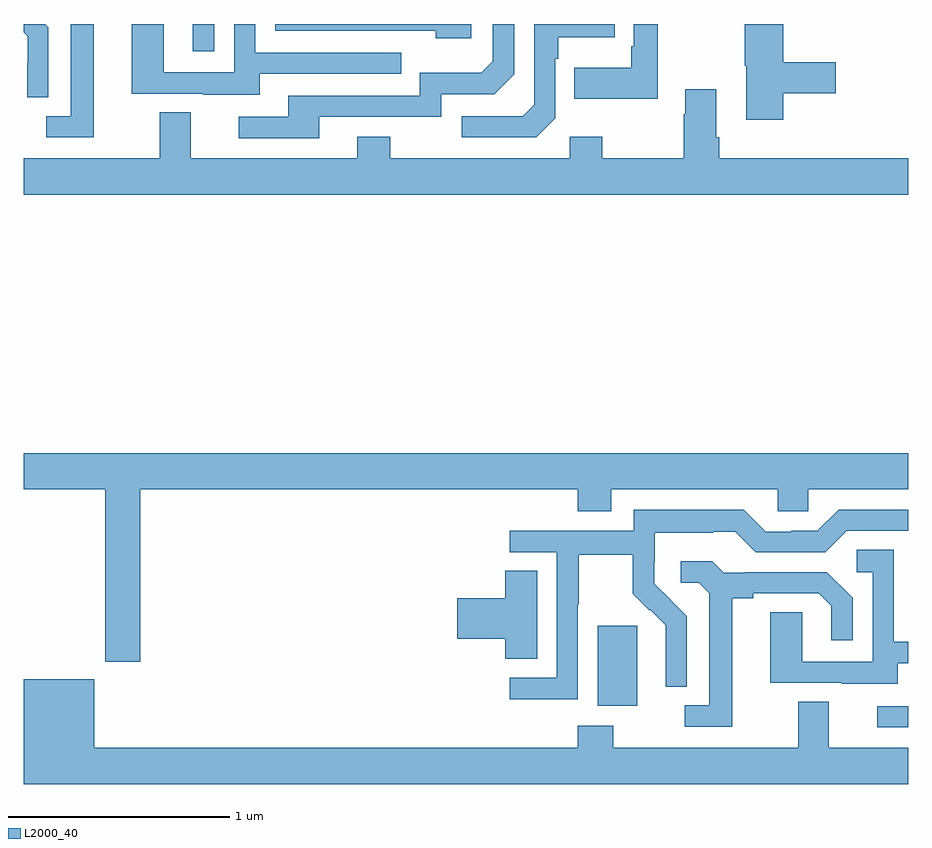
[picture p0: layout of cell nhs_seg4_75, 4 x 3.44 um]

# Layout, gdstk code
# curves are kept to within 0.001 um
import gdstk
lib = gdstk.Library(unit=1e-6, precision=1e-09)
def R(c, l, rs):  # rectangles x0, y0, x1, y1
    for r in rs: c.add(gdstk.rectangle(r[:2], r[2:], *l))
def P(c, l, *ps):  # polygons
    for p in ps: c.add(gdstk.Polygon(p, *l))
L2000_40 = (2000, 40)

nhs_seg4_75 = lib.new_cell('nhs_seg4_75')
R(nhs_seg4_75, L2000_40, [(116.859,819.72,117,819.816), (115.595,819.818,115.774,820.179), (113.765,822.777,113.862,822.9)])
P(nhs_seg4_75, L2000_40, [(114.337,822.48),(114.888,822.48),(114.888,822.582),(115.128,822.582),(115.218,822.672),(115.218,822.9),(115.122,822.9),(115.122,822.732),(115.069,822.679),(114.792,822.679),(114.792,822.576),(114.197,822.576),(114.197,822.48),(113.973,822.48),(113.973,822.384),(114.337,822.384)],
  [(114.067,822.675),(114.707,822.675),(114.707,822.771),(114.048,822.771),(114.048,822.9),(113.952,822.9),(113.952,822.681),(113.634,822.681),(113.634,822.9),(113.489,822.9),(113.489,822.585),(113.813,822.585),(113.813,822.581),(114.067,822.581)],
  [(115.867,822.9),(115.758,822.9),(115.758,822.799),(115.746,822.799),(115.746,822.703),(115.489,822.703),(115.489,822.563),(115.867,822.563)],
  [(116.435,822.586),(116.671,822.586),(116.671,822.728),(116.435,822.728),(116.435,822.9),(116.26,822.9),(116.26,822.711),(116.267,822.711),(116.267,822.468),(116.435,822.468)],
  [(115.404,822.474),(115.404,822.743),(115.417,822.743),(115.417,822.839),(115.673,822.839),(115.673,822.9),(115.308,822.9),(115.308,822.534),(115.257,822.483),(114.981,822.483),(114.981,822.387),(115.317,822.387)],
  [(113.112,822.886),(113.098,822.9),(113,822.9),(113,822.863),(113.018,822.845),(113.018,822.722),(113.016,822.722),(113.016,822.568),(113.112,822.568)],
  [(115.024,822.9),(114.138,822.9),(114.138,822.87),(114.863,822.87),(114.863,822.836),(115.024,822.836)],
  [(113.317,822.9),(113.213,822.9),(113.213,822.483),(113.103,822.483),(113.103,822.387),(113.317,822.387)],
  [(117,822.292),(116.144,822.292),(116.144,822.388),(116.131,822.388),(116.131,822.604),(115.991,822.604),(115.991,822.491),(115.984,822.491),(115.984,822.292),(115.617,822.292),(115.617,822.391),(115.47,822.391),(115.47,822.292),(114.657,822.292),(114.657,822.391),(114.509,822.391),(114.509,822.292),(113.755,822.292),(113.755,822.5),(113.615,822.5),(113.615,822.292),(113,822.292),(113,822.128),(117,822.128)],
  [(113.528,820.796),(115.505,820.796),(115.505,820.697),(115.657,820.697),(115.657,820.796),(116.409,820.796),(116.409,820.698),(116.547,820.698),(116.547,820.796),(117,820.796),(117,820.96),(113,820.96),(113,820.796),(113.368,820.796),(113.368,820.017),(113.528,820.017)],
  [(115.506,820.276),(115.509,820.276),(115.509,820.5),(115.753,820.5),(115.753,820.325),(115.83,820.248),(115.833,820.251),(115.904,820.181),(115.904,820.058),(115.902,820.058),(115.902,819.904),(115.998,819.904),(115.998,820.222),(115.852,820.37),(115.852,820.467),(115.854,820.467),(115.854,820.601),(116.117,820.601),(116.117,820.605),(116.217,820.605),(116.31,820.512),(116.625,820.512),(116.721,820.608),(117,820.608),(117,820.704),(116.685,820.704),(116.589,820.608),(116.471,820.608),(116.471,820.605),(116.355,820.605),(116.255,820.705),(115.758,820.705),(115.758,820.608),(115.197,820.608),(115.197,820.512),(115.41,820.512),(115.41,819.945),(115.197,819.945),(115.197,819.847),(115.506,819.847)],
  [(116.953,820.011),(117,820.011),(117,820.107),(116.934,820.107),(116.934,820.523),(116.766,820.523),(116.766,820.422),(116.838,820.422),(116.838,820.017),(116.52,820.017),(116.52,820.241),(116.375,820.241),(116.375,819.921),(116.699,819.921),(116.699,819.917),(116.953,819.917)],
  [(116.203,820.304),(116.299,820.304),(116.299,820.326),(116.594,820.326),(116.651,820.269),(116.651,820.113),(116.748,820.113),(116.748,820.306),(116.632,820.422),(116.26,820.422),(116.26,820.419),(116.166,820.419),(116.114,820.471),(115.971,820.471),(115.971,820.374),(116.052,820.374),(116.099,820.327),(116.099,819.819),(115.989,819.819),(115.989,819.723),(116.203,819.723)],
  [(115.321,820.427),(115.178,820.427),(115.178,820.304),(114.96,820.304),(114.96,820.121),(115.178,820.121),(115.178,820.03),(115.321,820.03)],
  [(117,819.628),(116.641,819.628),(116.641,819.836),(116.501,819.836),(116.501,819.628),(115.665,819.628),(115.665,819.727),(115.505,819.727),(115.505,819.628),(113.32,819.628),(113.32,819.937),(113,819.937),(113,819.464),(117,819.464)])

lib.write_gds('nhs_seg4_75.gds')
